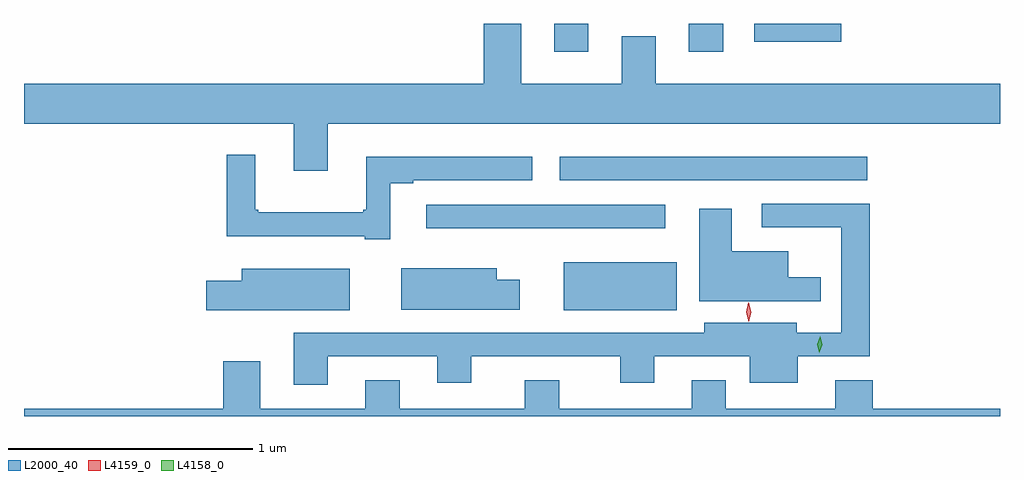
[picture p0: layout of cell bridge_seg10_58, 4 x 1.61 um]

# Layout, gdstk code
import gdstk
lib = gdstk.Library(unit=1e-6, precision=1e-09)
def R(c, l, rs):  # rectangles x0, y0, x1, y1
    for r in rs: c.add(gdstk.rectangle(r[:2], r[2:], *l))
def P(c, l, *ps):  # polygons
    for p in ps: c.add(gdstk.Polygon(p, *l))
L2000_40 = (2000, 40)
L4158_0 = (4158, 0)
L4159_0 = (4159, 0)

bridge_seg10_58 = lib.new_cell('bridge_seg10_58')
R(bridge_seg10_58, L2000_40, [(844.124,1248.935,844.588,1249.132), (843.561,1249.271,844.54,1249.368), (844.107,1249.467,845.368,1249.564), (844.085,1249.995,844.225,1250.11), (844.637,1249.995,844.777,1250.11), (844.905,1250.036,845.261,1250.11)])
P(bridge_seg10_58, L2000_40, [(844.361,1250.059),(844.361,1249.864),(843.949,1249.864),(843.949,1250.11),(843.797,1250.11),(843.797,1249.864),(841.912,1249.864),(841.912,1249.7),(843.017,1249.7),(843.017,1249.506),(843.157,1249.506),(843.157,1249.7),(845.912,1249.7),(845.912,1249.864),(844.501,1249.864),(844.501,1250.059)],
  [(843.412,1249.455),(843.508,1249.455),(843.508,1249.467),(843.994,1249.467),(843.994,1249.564),(843.314,1249.564),(843.314,1249.348),(843.303,1249.348),(843.303,1249.336),(842.872,1249.336),(842.872,1249.348),(842.86,1249.348),(842.86,1249.573),(842.743,1249.573),(842.743,1249.238),(843.308,1249.238),(843.308,1249.227),(843.412,1249.227)],
  [(843.157,1248.747),(843.605,1248.747),(843.605,1248.638),(843.745,1248.638),(843.745,1248.747),(844.355,1248.747),(844.355,1248.638),(844.495,1248.638),(844.495,1248.747),(844.886,1248.747),(844.886,1248.638),(845.083,1248.638),(845.083,1248.747),(845.378,1248.747),(845.378,1249.371),(844.935,1249.371),(844.935,1249.275),(845.261,1249.275),(845.261,1249.274),(845.262,1249.274),(845.262,1248.843),(845.08,1248.843),(845.08,1248.883),(844.7,1248.883),(844.7,1248.843),(843.017,1248.843),(843.017,1248.63),(843.157,1248.63)],
  [(844.94,1248.972),(845.177,1248.972),(845.177,1249.07),(845.044,1249.07),(845.044,1249.177),(844.813,1249.177),(844.813,1249.351),(844.679,1249.351),(844.679,1248.971),(844.94,1248.971)],
  [(843.943,1249.06),(843.85,1249.06),(843.85,1249.108),(843.458,1249.108),(843.458,1248.938),(843.943,1248.938)],
  [(843.247,1249.105),(842.804,1249.105),(842.804,1249.057),(842.658,1249.057),(842.658,1248.935),(843.247,1248.935)],
  [(845.912,1248.532),(845.39,1248.532),(845.39,1248.649),(845.237,1248.649),(845.237,1248.532),(844.789,1248.532),(844.789,1248.649),(844.649,1248.649),(844.649,1248.532),(844.105,1248.532),(844.105,1248.649),(843.965,1248.649),(843.965,1248.532),(843.451,1248.532),(843.451,1248.649),(843.311,1248.649),(843.311,1248.532),(842.881,1248.532),(842.881,1248.727),(842.729,1248.727),(842.729,1248.532),(841.912,1248.532),(841.912,1248.5),(845.912,1248.5)])
P(bridge_seg10_58, L4158_0, [(845.172,1248.761),(845.172,1248.761),(845.164,1248.795),(845.175,1248.829),(845.175,1248.829),(845.175,1248.829),(845.184,1248.794),(845.172,1248.761)])
P(bridge_seg10_58, L4159_0, [(844.883,1248.887),(844.883,1248.887),(844.872,1248.926),(844.881,1248.965),(844.881,1248.966),(844.882,1248.965),(844.892,1248.927),(844.883,1248.887)])

lib.write_gds('bridge_seg10_58.gds')
